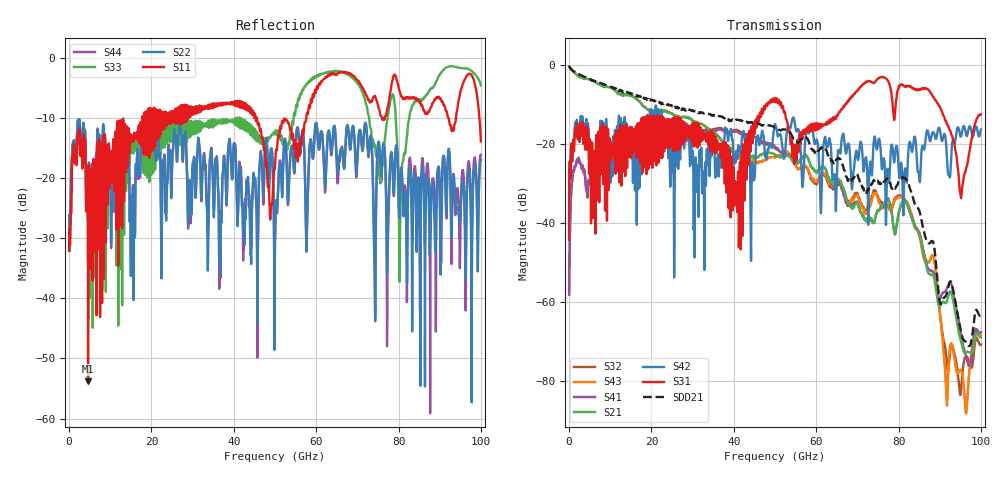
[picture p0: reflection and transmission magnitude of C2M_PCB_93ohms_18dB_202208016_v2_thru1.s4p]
! Info: Touchstone file created by Circ.  Input file=Intel_C2M_200G_6p0in_202208016_staggered.circ
# Hz S RI R 50
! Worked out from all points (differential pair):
!   10000 points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, 10 MHz to 100 GHz, reference 50 ohm
!   strongest paths, dB at 10 MHz, 25.01 GHz, 50.01 GHz, 75.01 GHz, 100 GHz:
!     S31: -44.2, -16.4, -8.6, -3.4, -12.4
!     S42: -44.2, -26.5, -14.9, -19.8, -16.3
!     S21: -0.2, -12.2, -22.8, -36.6, -69.0
!     S41: -58.0, -19.0, -20.6, -36.6, -67.6
!     S43: -0.2, -12.2, -23.4, -33.7, -68.4
!     S32: -58.0, -18.8, -21.0, -33.2, -70.8
!   taken as a pair (ports 1,3 in; 2,4 out), SDD21 dB: -0.2, -10.3, -15.9, -29.3, -63.4
!   lowest |S11| = -53.8 dB at 4.62 GHz (marker M1), VSWR 1.00, Z = 50 + j0.202 ohm
!   |S11| at or under -10 dB: start of sweep to 17.81 GHz; 45.61 GHz to 57.61 GHz (12 GHz wide, 23.3 % of centre); 92.11 GHz to 93.94 GHz (1.828 GHz wide, 1.97 % of centre)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
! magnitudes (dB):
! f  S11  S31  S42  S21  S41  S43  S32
! 10 MHz  -32.1  -44.2  -44.2  -0.2  -58.0  -0.2  -58.0
! 1.31 GHz  -16.6  -18.9  -17.2  -1.9  -25.7  -1.9  -25.8
! 4.62 GHz  -53.8  -16.1  -14.9  -3.5  -29.6  -3.5  -30.0
! 45.39 GHz  -10.6  -14.1  -19.9  -23.4  -18.2  -24.7  -18.3
! 80.9 GHz  -6.6  -5.0  -28.0  -34.6  -34.8  -33.4  -33.1
! 91.62 GHz  -8.9  -14.4  -20.8  -60.1  -56.8  -82.8  -73.5
! 100 GHz  -13.9  -12.4  -16.3  -69.0  -67.6  -68.4  -70.8
